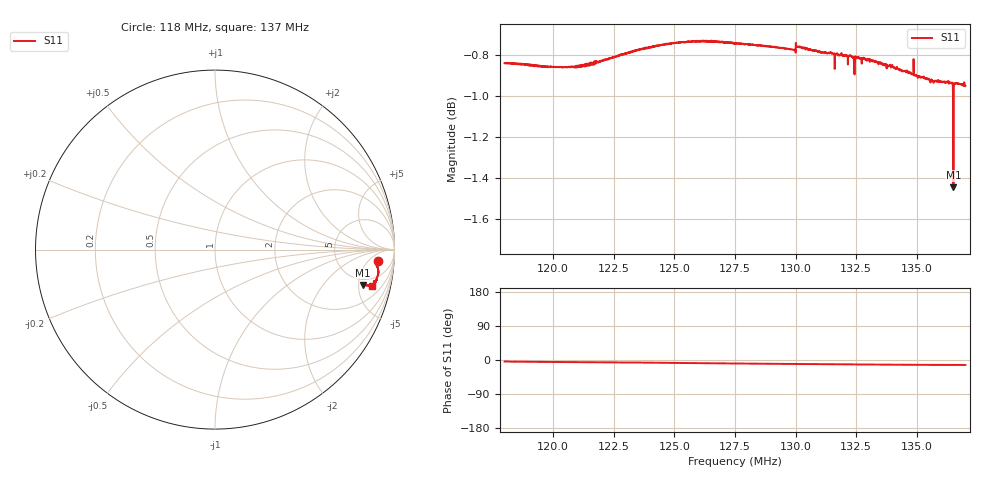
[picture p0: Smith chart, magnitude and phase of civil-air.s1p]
! Calibrated averaged scanner-service zoom
# Hz S RI R 50
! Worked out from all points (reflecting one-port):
!   2001 points, 118 MHz to 137 MHz, reference 50 ohm
!   lowest |S11| = -1.4 dB at 136.5 MHz (marker M1), VSWR 12.05, Z = 202 - j282 ohm
!   phase of S11 starts at -4 deg and turns -9 deg over the sweep
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1.18e8  0.9054 -0.0639
1.192065e8  0.9035 -0.0767
1.20375e8  0.9017 -0.0845
1.21363e8  0.9017 -0.091
1.22047e8  0.9041 -0.0949
1.2275e8  0.9063 -0.1003
1.23624e8  0.9084 -0.1084
1.25125e8  0.9099 -0.1232
1.26132e8  0.9094 -0.1335
1.275e8  0.9059 -0.1467
1.29875e8  0.8994 -0.1657
1.30103e8  0.9005 -0.1673
1.310245e8  0.8964 -0.1738
1.3225e8  0.8929 -0.1826
1.32307e8  0.8925 -0.1828
1.323545e8  0.8922 -0.1832
1.324685e8  0.8922 -0.1838
1.32554e8  0.8912 -0.1847
1.334185e8  0.8867 -0.1908
1.34625e8  0.8813 -0.1971
1.35632e8  0.8764 -0.2001
1.36373e8  0.875 -0.2017
1.364015e8  0.8747 -0.2019
1.36411e8  0.8746 -0.2013
1.36506e8  0.8235 -0.1972
1.36601e8  0.8744 -0.2022
1.366105e8  0.8745 -0.2023
1.37e8  0.873 -0.2029
